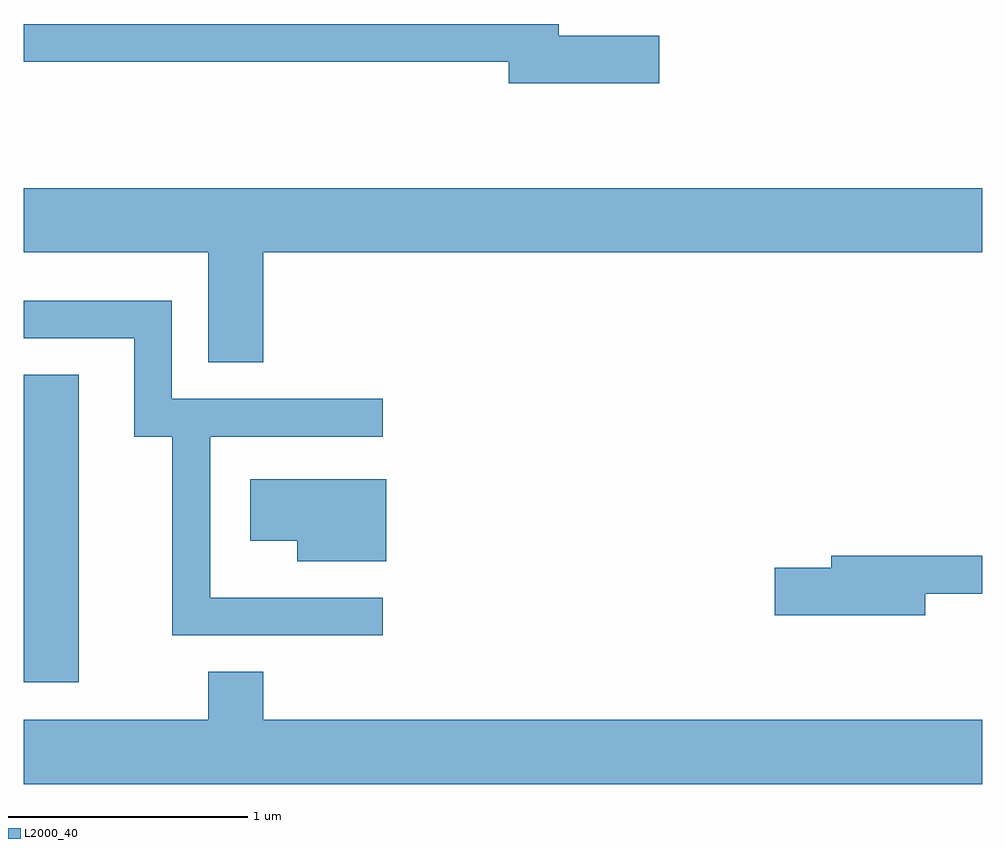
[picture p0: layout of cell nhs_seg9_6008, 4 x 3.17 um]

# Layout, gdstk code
import gdstk
lib = gdstk.Library(unit=1e-6, precision=1e-09)
def R(c, l, rs):  # rectangles x0, y0, x1, y1
    for r in rs: c.add(gdstk.rectangle(r[:2], r[2:], *l))
def P(c, l, *ps):  # polygons
    for p in ps: c.add(gdstk.Polygon(p, *l))
L2000_40 = (2000, 40)

nhs_seg9_6008 = lib.new_cell('nhs_seg9_6008')
R(nhs_seg9_6008, L2000_40, [(361.611,2063.281,361.839,2064.564)])
P(nhs_seg9_6008, L2000_40, [(364.264,2065.979),(363.844,2065.979),(363.844,2066.029),(361.611,2066.029),(361.611,2065.871),(363.636,2065.871),(363.636,2065.781),(364.264,2065.781)],
  [(362.609,2065.076),(365.611,2065.076),(365.611,2065.344),(361.611,2065.344),(361.611,2065.076),(362.381,2065.076),(362.381,2064.616),(362.609,2064.616)],
  [(363.108,2063.634),(362.389,2063.634),(362.389,2064.306),(363.108,2064.306),(363.108,2064.464),(362.229,2064.464),(362.229,2064.874),(361.611,2064.874),(361.611,2064.716),(362.071,2064.716),(362.071,2064.306),(362.231,2064.306),(362.231,2063.476),(363.108,2063.476)],
  [(363.124,2064.129),(362.556,2064.129),(362.556,2063.871),(362.751,2063.871),(362.751,2063.786),(363.124,2063.786)],
  [(365.374,2063.651),(365.611,2063.651),(365.611,2063.809),(364.981,2063.809),(364.981,2063.759),(364.746,2063.759),(364.746,2063.561),(365.374,2063.561)],
  [(365.611,2063.124),(362.609,2063.124),(362.609,2063.324),(362.381,2063.324),(362.381,2063.124),(361.611,2063.124),(361.611,2062.856),(365.611,2062.856)])

lib.write_gds('nhs_seg9_6008.gds')
